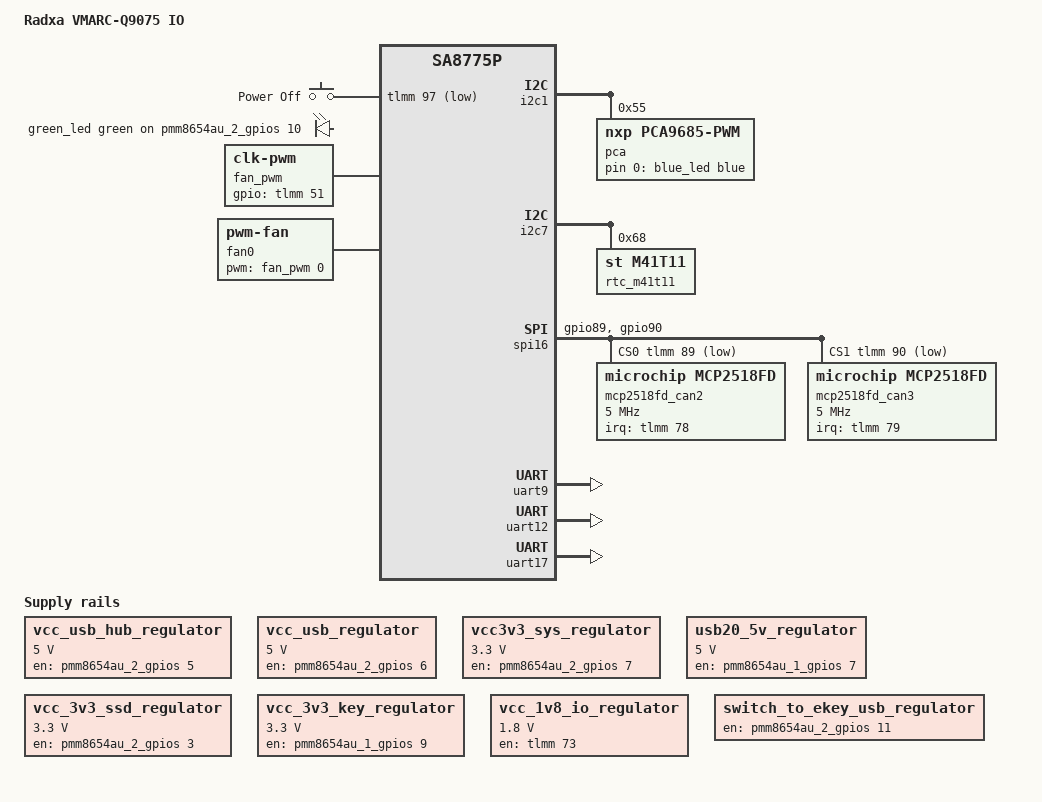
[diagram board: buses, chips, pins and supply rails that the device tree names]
// SPDX-License-Identifier: BSD-3-Clause
/*
 * Copyright (c) 2024, 2025, Qualcomm Innovation Center, Inc. All rights reserved.
 * Copyright (c) 2026 Radxa Computer (Shenzhen) Co., Ltd.
 */
/dts-v1/;

#include "qcs9075-radxa-vmarc-q9075.dtsi"

/ {
	model = "Radxa VMARC-Q9075 IO";
	compatible = "radxa,vmarc-q9075-io", "qcom,qcs9075", "qcom,sa8775p";

	vcc_usb_hub_regulator: vcc-usb-hub-regulator {
		compatible = "regulator-fixed";
		regulator-name = "vcc_usb_hub";
		gpio = <&pmm8654au_2_gpios 5 GPIO_ACTIVE_HIGH>;
		pinctrl-names = "default";
		pinctrl-0 = <&pme_gpio_5_usb2_pwer_en>;
		regulator-min-microvolt = <5000000>;
		regulator-max-microvolt = <5000000>;
		regulator-boot-on;
		enable-active-high;
		regulator-always-on;
	};

	vcc_usb_regulator: vcc-usb-regulator {
		compatible = "regulator-fixed";
		regulator-name = "vcc_usb";
		gpio = <&pmm8654au_2_gpios 6 GPIO_ACTIVE_HIGH>;
		pinctrl-names = "default";
		pinctrl-0 = <&pme_gpio_6_usb3_pwr_en>;
		regulator-min-microvolt = <5000000>;
		regulator-max-microvolt = <5000000>;
		regulator-boot-on;
		enable-active-high;
		regulator-always-on;
	};

	vcc3v3_sys_regulator: vcc3v3-sys-regulator {
		compatible = "regulator-fixed";
		regulator-name = "vcc3v3_sys";
		gpio = <&pmm8654au_2_gpios 7 GPIO_ACTIVE_HIGH>;
		enable-active-high;
		pinctrl-names = "default";
		pinctrl-0 = <&pme_gpio_7_usb4_pwr_en>;
		regulator-min-microvolt = <3300000>;
		regulator-max-microvolt = <3300000>;
		regulator-boot-on;
		regulator-always-on;
	};

	usb20_5v_regulator: usb20-5v-regulator {
		compatible = "regulator-fixed";
		regulator-name = "usb20_5v";
		gpio = <&pmm8654au_1_gpios 7 GPIO_ACTIVE_HIGH>;
		enable-active-high;
		pinctrl-names = "default";
		pinctrl-0 = <&usb20_5v_en>;
		regulator-min-microvolt = <5000000>;
		regulator-max-microvolt = <5000000>;
		regulator-boot-on;
		regulator-always-on;
	};

	vcc_3v3_ssd_regulator: vcc-3p3-ssd-regulator {
		compatible = "regulator-fixed";
		regulator-name = "vcc_3v3_ssd";
		gpio = <&pmm8654au_2_gpios 3 GPIO_ACTIVE_HIGH>;
		pinctrl-names = "default";
		pinctrl-0 = <&vcc_3v3_ssd_en_state>;
		regulator-min-microvolt = <3300000>;
		regulator-max-microvolt = <3300000>;
		regulator-boot-on;
		enable-active-high;
		regulator-always-on;
	};

	vcc_3v3_key_regulator: vcc-3v3-key-regulator {
		compatible = "regulator-fixed";
		regulator-name = "vcc_3v3_key";
		gpio = <&pmm8654au_1_gpios 9 GPIO_ACTIVE_HIGH>;
		pinctrl-names = "default";
		pinctrl-0 = <&vcc_3v3_key_en>;
		regulator-min-microvolt = <3300000>;
		regulator-max-microvolt = <3300000>;
		regulator-boot-on;
		enable-active-high;
		regulator-always-on;
	};

	vcc_1v8_io_regulator: vcc-1v8-io-regulator {
		compatible = "regulator-fixed";
		regulator-name = "vcc_1v8_io";
		gpio = <&tlmm 73 GPIO_ACTIVE_HIGH>;
		enable-active-high;
		pinctrl-names = "default";
		pinctrl-0 = <&vcc_1v8_io_en_state>;
		regulator-min-microvolt = <1800000>;
		regulator-max-microvolt = <1800000>;
		regulator-boot-on;
		regulator-always-on;
	};

	switch_to_ekey_usb_regulator: switch-to-ekey-usb-regulator {
		compatible = "regulator-fixed";
		regulator-name = "switch_to_ekey_usb";
		gpio = <&pmm8654au_2_gpios 11 GPIO_ACTIVE_HIGH>;
		pinctrl-names = "default";
		pinctrl-0 = <&switch_to_ekey_usb>;
		enable-active-high;
		regulator-boot-on;
		regulator-always-on;
	};

	gpio_keys: gpio-keys {
		compatible = "gpio-keys";
		pinctrl-0 = <&gpio_keys_default>;
		pinctrl-names = "default";

		power-key {
			label = "Power Off";
			gpios = <&tlmm 97 GPIO_ACTIVE_LOW>;
			linux,code = <KEY_POWER>;
			wakeup-source;
			debounce-interval = <30>;
		};
	};

	gpio_leds: leds {
		compatible = "gpio-leds";
		pinctrl-names = "default";
		pinctrl-0 = <&pme_gpio_10_led>;

		blue_led {
			color = <LED_COLOR_ID_BLUE>;
			function = LED_FUNCTION_STATUS;
			gpios = <&pca 0 GPIO_ACTIVE_HIGH>;
			linux,default-trigger = "heartbeat";
		};

		green_led {
			color = <LED_COLOR_ID_GREEN>;
			function = LED_FUNCTION_STATUS;
			gpios = <&pmm8654au_2_gpios 10 GPIO_ACTIVE_HIGH>;
			linux,default-trigger = "none";
		};
	};

	fan_pwm: pwm {
		compatible = "clk-pwm";
		#pwm-cells = <2>;
		clocks = <&gcc GCC_GP1_CLK>;
		gpios = <&tlmm 51 GPIO_ACTIVE_HIGH>;

		pinctrl-names = "default", "gpio";
		pinctrl-0 = <&fan_pwm_clk_state>;
		pinctrl-1 = <&fan_pwm_gpio_state>;
	};

	fan0: pwm-fan {
		compatible = "pwm-fan";
		pwms = <&fan_pwm 0 100000>;
		cooling-levels = <0 64 128 192 255>;
		#cooling-cells = <2>;
		status = "okay";
	};
};

&thermal_zones {
	cpu-0-1-0-thermal {
		polling-delay = <1000>;
		polling-delay-passive = <1000>;

		trips {
			fan_cpu_threshold: fan-cpu-threshold {
				temperature = <50000>;
				hysteresis = <2000>;
				type = "active";
			};
		};

		cooling-maps {
			fan-map {
				trip = <&fan_cpu_threshold>;
				cooling-device = <&fan0 0 4>;
				contribution = <2048>;
			};
		};
	};

	gpuss-0-thermal {
		polling-delay = <1000>;
		polling-delay-passive = <1000>;

		trips {
			fan_gpu_threshold: fan-gpu-threshold {
				temperature = <50000>;
				hysteresis = <2000>;
				type = "active";
			};
		};

		cooling-maps {
			fan-map {
				trip = <&fan_gpu_threshold>;
				cooling-device = <&fan0 0 4>;
				contribution = <1024>;
			};
		};
	};
};

&i2c1 {
	qcom,load-firmware;
	qcom,xfer-mode = <1>;
	status = "okay";

	pca: pca@55 {
		compatible = "nxp,pca9685-pwm";
		#pwm-cells = <2>;
		#gpio-cells = <2>;
		gpio-controller;
		reg = <0x55>;

		gpio-line-names =
		/* GPIO0 ~  GPIO3 */
		"", "PIN_37", "PIN_7", "PIN_11",
		/* GPIO4 ~  GPIO7 */
		"PIN_13", "PIN_15", "PIN_29", "PIN_31",
		/* GPIO8 ~ GPIO11 */
		"PIN_36", "PIN_32", "PIN_22", "PIN_18",
		/* GPIO12 ~ GPIO15 */
		"PIN_16", "PIN_10", "PIN_8", "PIN_33";
	};
};

&i2c7 {
	qcom,load-firmware;
	qcom,xfer-mode = <1>;
	pinctrl-0 = <&qup_i2c7_default>;
	pinctrl-names = "default";
	status = "okay";

	/* RTC RS4C411ZAE */
	rtc_m41t11: rtc-m41t11@68 {
		compatible = "st,m41t11";
		reg = <0x68>;
	};
};

&qup_spi16_default {
	pins = "gpio86", "gpio87", "gpio88";
	function = "qup2_se2";
	drive-strength = <6>;
	bias-disable;
};

&spi16 {
	qcom,load-firmware;
	qcom,xfer-mode = <1>;

	num-cs = <2>;
	cs-gpios = <&tlmm 89 GPIO_ACTIVE_LOW>,
			<&tlmm 90 GPIO_ACTIVE_LOW>;

	pinctrl-names = "default";
	pinctrl-0 = <&qup_spi16_default &spi16_cs_gpio_state>;

	#address-cells = <1>;
	#size-cells = <0>;
	status = "okay";

	mcp2518fd_can2: can@0 {
		compatible = "microchip,mcp2518fd";
		reg = <0>;
		clock-frequency = <40000000>;
		spi-max-frequency = <5000000>;
		pinctrl-names = "default";
		pinctrl-0 = <&mcp2518fd_spi16_can0_int_state>;
		interrupt-names = "can2_irq";
		interrupts-extended = <&tlmm 78 IRQ_TYPE_LEVEL_LOW>;
		status = "okay";
	};

	mcp2518fd_can3: can@1 {
		compatible = "microchip,mcp2518fd";
		reg = <1>;
		clock-frequency = <40000000>;
		spi-max-frequency = <5000000>;
		pinctrl-names = "default";
		pinctrl-0 = <&mcp2518fd_spi16_can1_int_state>;
		interrupt-names = "can3_irq";
		interrupts-extended = <&tlmm 79 IRQ_TYPE_LEVEL_LOW>;
		status = "okay";
	};
};

&uart9 {
	qcom,load-firmware;
	qcom,xfer-mode = <1>;
	pinctrl-0 = <&qup_uart9_tx>, <&qup_uart9_rx>;
	pinctrl-names = "default";
	status = "okay";
};

&uart12 {
	qcom,load-firmware;
	qcom,xfer-mode = <1>;
	pinctrl-0 = <&qup_uart12_tx>,  <&qup_uart12_rx>;
	pinctrl-names = "default";
	status = "okay";
};

&qup_uart17_rts {
	bias-pull-down;
};

&uart17 {
	qcom,load-firmware;
	qcom,xfer-mode = <1>;
	pinctrl-0 = <&qup_uart17_rts>, <&qup_uart17_tx>, <&qup_uart17_rx>;
	pinctrl-names = "default";
	status = "okay";
	linux,rs485-enabled-at-boot-time;
};

&pmm8654au_1_gpios {

	usb20_5v_en: usb20-5v-en-state {
		pins = "gpio7";
		function = "normal";
		output-high;
		bias-pull-up;
	};

	vcc_3v3_key_en: vcc-3v3-key-en-state {
		pins = "gpio9";
		function = "normal";
		output-high;
		bias-pull-up;
	};
};

&pmm8654au_2_gpios {

	vcc_3v3_ssd_en_state: vcc-3v3-ssd-en-state {
		pins = "gpio3";
		function = "normal";
		output-high;
		bias-pull-up;
	};

	pme_gpio_5_usb2_pwer_en: pme-gpio-5-usb2-pwr-en-state {
		pins = "gpio5";
		function = "normal";
		output-high;
		bias-pull-up;
	};

	pme_gpio_6_usb3_pwr_en: pme-gpio-6-usb3-pwr-en-state {
		pins = "gpio6";
		function = "normal";
		output-high;
		bias-pull-up;
	};

	pme_gpio_7_usb4_pwr_en: pme-gpio-7-usb4-pwr-en-state {
		pins = "gpio7";
		function = "normal";
		output-high;
		bias-pull-up;
	};

	switch_to_ekey_usb: switch-to-ekey-usb-state {
		pins = "gpio11";
		function = "normal";
		output-high;
		bias-pull-high;
	};

	pme_gpio_10_led: pme-gpio-10-led-state {
		pins = "gpio10";
		function = "normal";
		output-low;
		bias-disable;
	};
};

&tlmm {

	gpio-line-names =
		/* GPIO0 ~  GPIO3 */
		"", "", "", "",
		/* GPIO4 ~  GPIO7 */
		"", "", "", "",
		/* GPIO8 ~ GPIO11 */
		"", "", "", "",
		/* GPIO12 ~ GPIO15 */
		"", "PIN_21", "PIN_19", "PIN_23",
		/* GPIO16 ~ GPIO19 */
		"PIN_24", "PIN_26", "", "",
		/* GPIO20 ~ GPIO23 */
		"", "", "", "",
		/* GPIO24 ~ GPIO27 */
		"", "", "", "",
		/* GPIO28 ~ GPIO31 */
		"", "", "", "",
		/* GPIO32 ~ GPIO35 */
		"", "", "", "",
		/* GPIO36 ~ GPIO39 */
		"", "", "", "",
		/* GPIO40 ~ GPIO43 */
		"PIN_3", "PIN_5", "", "",
		/* GPIO44 ~ GPIO47 */
		"", "", "", "",
		/* GPIO48 ~ GPIO51 */
		"", "", "", "",
		/* GPIO52 ~ GPIO55 */
		"", "", "", "",
		/* GPIO56 ~ GPIO59 */
		"", "", "", "",
		/* GPIO60 ~ GPIO63 */
		"", "", "", "",
		/* GPIO64 ~ GPIO67 */
		"", "", "", "",
		/* GPIO68 ~ GPIO71 */
		"", "", "", "",
		/* GPIO72 ~ GPIO75 */
		"", "", "", "",
		/* GPIO76 ~ GPIO79 */
		"", "", "", "",
		/* GPIO80 ~ GPIO83 */
		"", "", "", "",
		/* GPIO84 ~ GPIO87 */
		"", "", "", "",
		/* GPIO88 ~ GPIO91 */
		"", "", "", "",
		/* GPIO92 ~ GPIO95 */
		"", "", "", "PIN_27",
		/* GPIO96 ~ GPIO99 */
		"PIN_28", "", "", "",
		/* GPIO100 ~ GPIO103 */
		"", "", "", "",
		/* GPIO104 ~ GPIO107 */
		"", "", "", "",
		/* GPIO108 ~ GPIO111 */
		"", "", "PIN_12", "PIN_35",
		/* GPIO112 ~ GPIO115 */
		"PIN_38", "PIN_40", "", "",
		/* GPIO116 ~ GPIO119 */
		"", "", "", "",
		/* GPIO120 ~ GPIO123 */
		"", "", "", "",
		/* GPIO124 ~ GPIO127 */
		"", "", "", "",
		/* GPIO128 ~ GPIO131 */
		"", "", "", "",
		/* GPIO132 ~ GPIO135 */
		"", "", "", "",
		/* GPIO136 ~ GPIO139 */
		"", "", "", "",
		/* GPIO140 ~ GPIO143 */
		"", "", "", "",
		/* GPIO144 ~ GPIO147 */
		"", "", "", "",
		/* GPIO148 ~ GPIO149 */
		"", "";

	gpio_keys_default: gpio-keys-default-state {
		pins = "gpio97";
		function = "gpio";
		drive-strength = <2>;
		bias-pull-up;
	};

	fan_pwm_clk_state: fan-pwm-clk-state {
		pins = "gpio51";
		function = "gcc_gp1";
		drive-strength = <2>;
		bias-disable;
	};

	fan_pwm_gpio_state: fan-pwm-gpio-state {
		pins = "gpio51";
		function = "gpio";
		drive-strength = <2>;
		bias-disable;
	};

	vcc_1v8_io_en_state: vcc-1v8-io-en-state {
		pins = "gpio73";
		function = "gpio";
		output-high;
		bias-pull-up;
	};

	spi16_cs_gpio_state: spi16-cs-gpio-state {
		pins = "gpio89", "gpio90";
		function = "gpio";
		drive-strength = <6>;
		bias-pull-up;
		output-high;
	};

	mcp2518fd_spi16_can0_int_state: mcp2518fd-spi16-can0-int-state {
		pins = "gpio78";
		function = "gpio";
		bias-pull-up;
		input-enable;
	};

	mcp2518fd_spi16_can1_int_state: mcp2518fd-spi16-can1-int-state {
		pins = "gpio79";
		function = "gpio";
		bias-pull-up;
		input-enable;
	};
};
